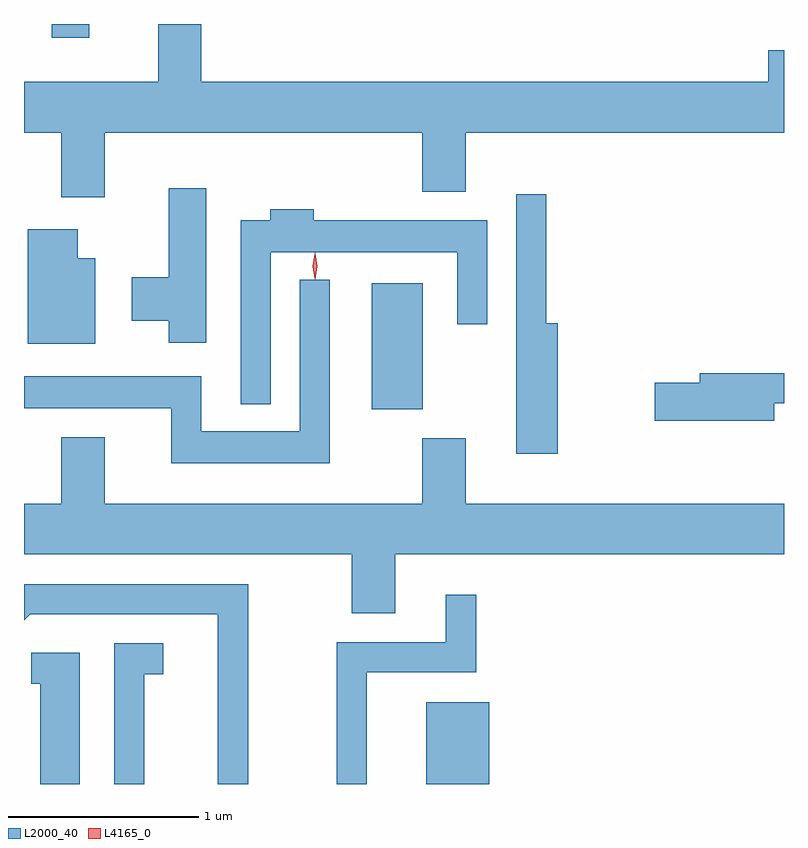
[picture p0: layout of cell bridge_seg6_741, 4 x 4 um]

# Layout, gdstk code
import gdstk
lib = gdstk.Library(unit=1e-6, precision=1e-09)
def R(c, l, rs):  # rectangles x0, y0, x1, y1
    for r in rs: c.add(gdstk.rectangle(r[:2], r[2:], *l))
def P(c, l, *ps):  # polygons
    for p in ps: c.add(gdstk.Polygon(p, *l))
L2000_40 = (2000, 40)
L4165_0 = (4165, 0)

bridge_seg6_741 = lib.new_cell('bridge_seg6_741')
R(bridge_seg6_741, L2000_40, [(439.391,1571.028,439.724,1571.459), (439.106,1573.001,439.374,1573.664), (437.421,1574.956,437.619,1575.028)])
P(bridge_seg6_741, L2000_40, [(437.699,1574.456),(439.371,1574.456),(439.371,1574.146),(439.599,1574.146),(439.599,1574.456),(441.275,1574.456),(441.275,1574.889),(441.191,1574.889),(441.191,1574.724),(438.209,1574.724),(438.209,1575.028),(437.981,1575.028),(437.981,1574.724),(437.275,1574.724),(437.275,1574.456),(437.471,1574.456),(437.471,1574.116),(437.699,1574.116)],
  [(438.234,1574.164),(438.036,1574.164),(438.036,1573.694),(437.841,1573.694),(437.841,1573.466),(438.036,1573.466),(438.036,1573.351),(438.234,1573.351)],
  [(440.084,1573.454),(440.024,1573.454),(440.024,1574.133),(439.866,1574.133),(439.866,1572.766),(440.084,1572.766)],
  [(438.574,1573.826),(439.556,1573.826),(439.556,1573.448),(439.714,1573.448),(439.714,1573.994),(438.799,1573.994),(438.799,1574.054),(438.571,1574.054),(438.571,1573.994),(438.416,1573.994),(438.416,1573.028),(438.574,1573.028)],
  [(437.649,1573.794),(437.559,1573.794),(437.559,1573.949),(437.296,1573.949),(437.296,1573.346),(437.649,1573.346)],
  [(438.884,1573.683),(438.726,1573.683),(438.726,1572.884),(438.209,1572.884),(438.209,1573.174),(437.275,1573.174),(437.275,1573.006),(438.051,1573.006),(438.051,1572.716),(438.884,1572.716)],
  [(441.224,1573.031),(441.275,1573.031),(441.275,1573.189),(440.831,1573.189),(440.831,1573.139),(440.596,1573.139),(440.596,1572.941),(441.224,1572.941)],
  [(439.229,1572.236),(441.275,1572.236),(441.275,1572.504),(439.599,1572.504),(439.599,1572.849),(439.371,1572.849),(439.371,1572.504),(437.699,1572.504),(437.699,1572.854),(437.471,1572.854),(437.471,1572.504),(437.275,1572.504),(437.275,1572.236),(439.001,1572.236),(439.001,1571.926),(439.229,1571.926)],
  [(438.454,1572.079),(437.275,1572.079),(437.275,1571.889),(437.307,1571.921),(438.296,1571.921),(438.296,1571.028),(438.454,1571.028)],
  [(439.079,1571.616),(439.654,1571.616),(439.654,1572.023),(439.496,1572.023),(439.496,1571.774),(438.921,1571.774),(438.921,1571.028),(439.079,1571.028)],
  [(437.909,1571.606),(438.008,1571.606),(438.008,1571.769),(437.751,1571.769),(437.751,1571.028),(437.909,1571.028)],
  [(437.569,1571.719),(437.313,1571.719),(437.313,1571.556),(437.361,1571.556),(437.361,1571.028),(437.569,1571.028)])
P(bridge_seg6_741, L4165_0, [(438.805,1573.687),(438.796,1573.754),(438.805,1573.82),(438.806,1573.821),(438.806,1573.82),(438.816,1573.754),(438.806,1573.687),(438.806,1573.687)],
  [(438.807,1573.684),(438.798,1573.753),(438.807,1573.822),(438.808,1573.823),(438.808,1573.822),(438.818,1573.753),(438.808,1573.684),(438.808,1573.684)])

lib.write_gds('bridge_seg6_741.gds')
